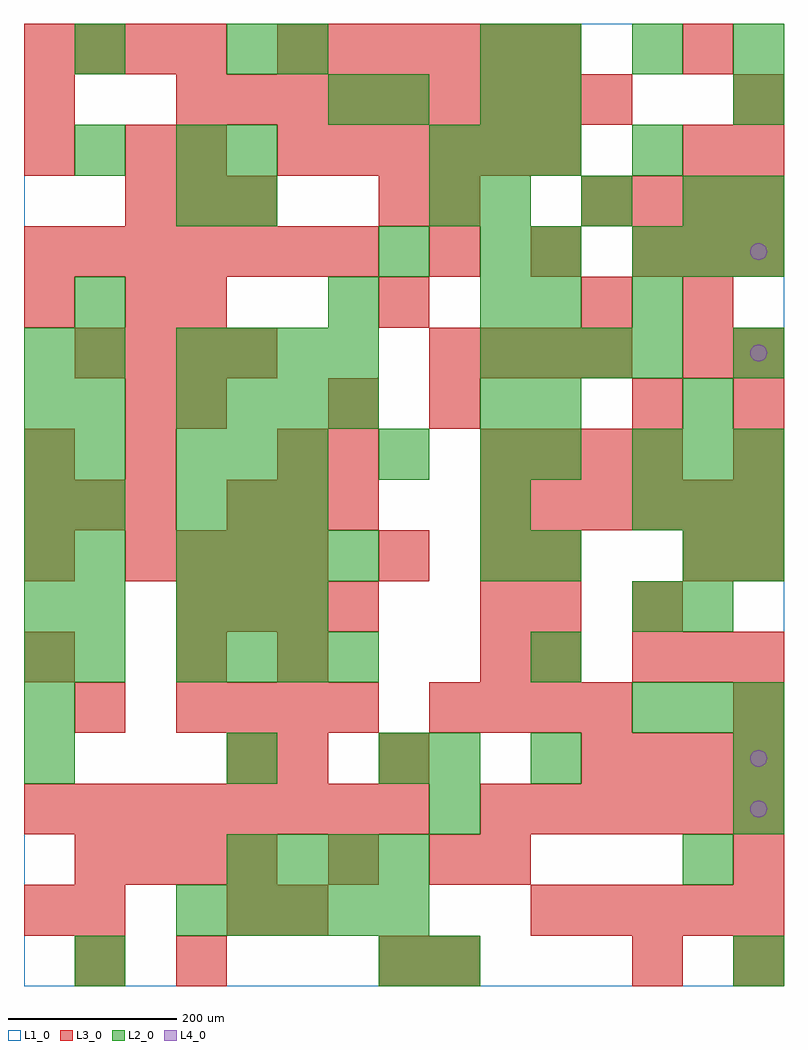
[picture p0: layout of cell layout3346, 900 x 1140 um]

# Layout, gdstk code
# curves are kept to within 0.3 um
import gdstk
lib = gdstk.Library(unit=1e-6, precision=1e-09)
def R(c, l, rs):  # rectangles x0, y0, x1, y1
    for r in rs: c.add(gdstk.rectangle(r[:2], r[2:], *l))
def A(c, l, x, y, w, h, nx, ny, dx, dy):  # array of equal rectangles
    R(c, l, [(x+i*dx, y+j*dy, x+i*dx+w, y+j*dy+h) for i in range(nx) for j in range(ny)])
def P(c, l, *ps):  # polygons
    for p in ps: c.add(gdstk.Polygon(p, *l))
L1_0 = (1, 0)
L2_0 = (2, 0)
L3_0 = (3, 0)
L4_0 = (4, 0)

layout3346 = lib.new_cell('layout3346')
R(layout3346, L1_0, [(0,0,900,1140)])
A(layout3346, L2_0, 180, 60, 60, 60, 5, 1, 60, 0)
A(layout3346, L2_0, 240, 120, 60, 60, 4, 1, 60, 0)
A(layout3346, L2_0, 0, 240, 60, 60, 1, 9, 0, 60)
A(layout3346, L2_0, 600, 240, 60, 60, 1, 4, 0, 120)
A(layout3346, L2_0, 840, 240, 60, 60, 1, 3, 0, 240)
A(layout3346, L2_0, 720, 300, 60, 60, 3, 2, 60, 240)
A(layout3346, L2_0, 60, 360, 60, 60, 1, 8, 0, 60)
A(layout3346, L2_0, 180, 360, 60, 60, 4, 2, 60, 120)
A(layout3346, L2_0, 180, 420, 60, 60, 3, 2, 60, 120)
A(layout3346, L2_0, 540, 480, 60, 60, 1, 4, 0, 60)
A(layout3346, L2_0, 180, 600, 60, 60, 3, 1, 60, 0)
A(layout3346, L2_0, 720, 600, 60, 60, 3, 2, 60, 240)
A(layout3346, L2_0, 180, 660, 60, 60, 4, 2, 60, 60)
A(layout3346, L2_0, 540, 720, 60, 60, 4, 1, 60, 0)
A(layout3346, L2_0, 540, 900, 60, 60, 3, 1, 120, 0)
A(layout3346, L2_0, 480, 960, 60, 60, 3, 1, 60, 0)
A(layout3346, L2_0, 600, 1080, 60, 60, 3, 1, 120, 0)
R(layout3346, L2_0, [(60,0,120,60), (420,0,480,60), (480,0,540,60), (840,0,900,60), (780,120,840,180), (480,180,540,240), (840,180,900,240), (240,240,300,300), (420,240,480,300), (480,240,540,300), (720,420,780,480), (780,420,840,480), (780,480,840,540), (420,600,480,660), (600,660,660,720), (780,660,840,720), (360,780,420,840), (540,780,600,840), (600,780,660,840), (720,780,780,840), (420,840,480,900), (540,840,600,900), (600,840,660,900), (180,900,240,960), (240,900,300,960), (480,900,540,960), (840,900,900,960), (60,960,120,1020), (180,960,240,1020), (240,960,300,1020), (720,960,780,1020), (360,1020,420,1080), (420,1020,480,1080), (540,1020,600,1080), (600,1020,660,1080), (840,1020,900,1080), (60,1080,120,1140), (240,1080,300,1140), (300,1080,360,1140), (540,1080,600,1140)])
A(layout3346, L3_0, 420, 0, 60, 60, 1, 3, 0, 240)
A(layout3346, L3_0, 600, 60, 60, 60, 5, 1, 60, 0)
A(layout3346, L3_0, 60, 120, 60, 60, 4, 2, 60, 600)
A(layout3346, L3_0, 840, 120, 60, 60, 1, 3, 0, 180)
A(layout3346, L3_0, 0, 180, 60, 60, 8, 1, 60, 0)
A(layout3346, L3_0, 540, 180, 60, 60, 6, 2, 60, 360)
A(layout3346, L3_0, 660, 240, 60, 60, 4, 2, 60, 660)
A(layout3346, L3_0, 180, 300, 60, 60, 4, 2, 60, 120)
A(layout3346, L3_0, 480, 300, 60, 60, 4, 2, 60, 420)
A(layout3346, L3_0, 0, 360, 60, 60, 1, 3, 0, 120)
A(layout3346, L3_0, 180, 360, 60, 60, 1, 3, 0, 300)
A(layout3346, L3_0, 540, 360, 60, 60, 1, 3, 0, 60)
A(layout3346, L3_0, 600, 360, 60, 60, 1, 3, 0, 60)
A(layout3346, L3_0, 720, 360, 60, 60, 3, 1, 60, 0)
A(layout3346, L3_0, 120, 480, 60, 60, 4, 1, 60, 0)
A(layout3346, L3_0, 0, 540, 60, 60, 3, 1, 60, 0)
A(layout3346, L3_0, 240, 540, 60, 60, 3, 1, 60, 0)
A(layout3346, L3_0, 540, 600, 60, 60, 4, 1, 60, 0)
A(layout3346, L3_0, 840, 600, 60, 60, 1, 3, 0, 60)
A(layout3346, L3_0, 780, 720, 60, 60, 1, 3, 0, 60)
A(layout3346, L3_0, 180, 780, 60, 60, 3, 1, 240, 0)
A(layout3346, L3_0, 0, 840, 60, 60, 7, 1, 60, 0)
A(layout3346, L3_0, 480, 840, 60, 60, 3, 1, 120, 0)
A(layout3346, L3_0, 120, 900, 60, 60, 3, 1, 60, 0)
A(layout3346, L3_0, 300, 960, 60, 60, 6, 2, 60, 120)
A(layout3346, L3_0, 180, 1020, 60, 60, 9, 1, 60, 0)
A(layout3346, L3_0, 0, 1080, 60, 60, 4, 1, 60, 0)
R(layout3346, L3_0, [(60,0,120,60), (180,0,240,60), (480,0,540,60), (720,0,780,60), (840,0,900,60), (0,60,60,120), (60,60,120,120), (240,60,300,120), (300,60,360,120), (360,120,420,180), (480,120,540,180), (540,120,600,180), (240,240,300,300), (300,240,360,300), (60,300,120,360), (300,360,360,420), (720,420,780,480), (780,480,840,540), (120,600,180,660), (300,600,360,660), (360,600,420,660), (120,660,180,720), (360,660,420,720), (480,660,540,720), (720,660,780,720), (0,780,60,840), (120,780,180,840), (840,840,900,900), (420,900,480,960), (480,900,540,960), (0,960,60,1020), (120,960,180,1020), (780,960,840,1020), (840,960,900,1020), (0,1020,60,1080), (840,1020,900,1080), (780,1080,840,1140)])
P(layout3346, L4_0, [(880,210),(879.239,213.827),(877.071,217.071),(873.827,219.239),(870,220),(866.173,219.239),(862.929,217.071),(860.761,213.827),(860,210),(860.761,206.173),(862.929,202.929),(866.173,200.761),(870,200),(873.827,200.761),(877.071,202.929),(879.239,206.173)],
  [(880,270),(879.239,273.827),(877.071,277.071),(873.827,279.239),(870,280),(866.173,279.239),(862.929,277.071),(860.761,273.827),(860,270),(860.761,266.173),(862.929,262.929),(866.173,260.761),(870,260),(873.827,260.761),(877.071,262.929),(879.239,266.173)],
  [(880,750),(879.239,753.827),(877.071,757.071),(873.827,759.239),(870,760),(866.173,759.239),(862.929,757.071),(860.761,753.827),(860,750),(860.761,746.173),(862.929,742.929),(866.173,740.761),(870,740),(873.827,740.761),(877.071,742.929),(879.239,746.173)],
  [(880,870),(879.239,873.827),(877.071,877.071),(873.827,879.239),(870,880),(866.173,879.239),(862.929,877.071),(860.761,873.827),(860,870),(860.761,866.173),(862.929,862.929),(866.173,860.761),(870,860),(873.827,860.761),(877.071,862.929),(879.239,866.173)])

lib.write_gds('layout3346.gds')
